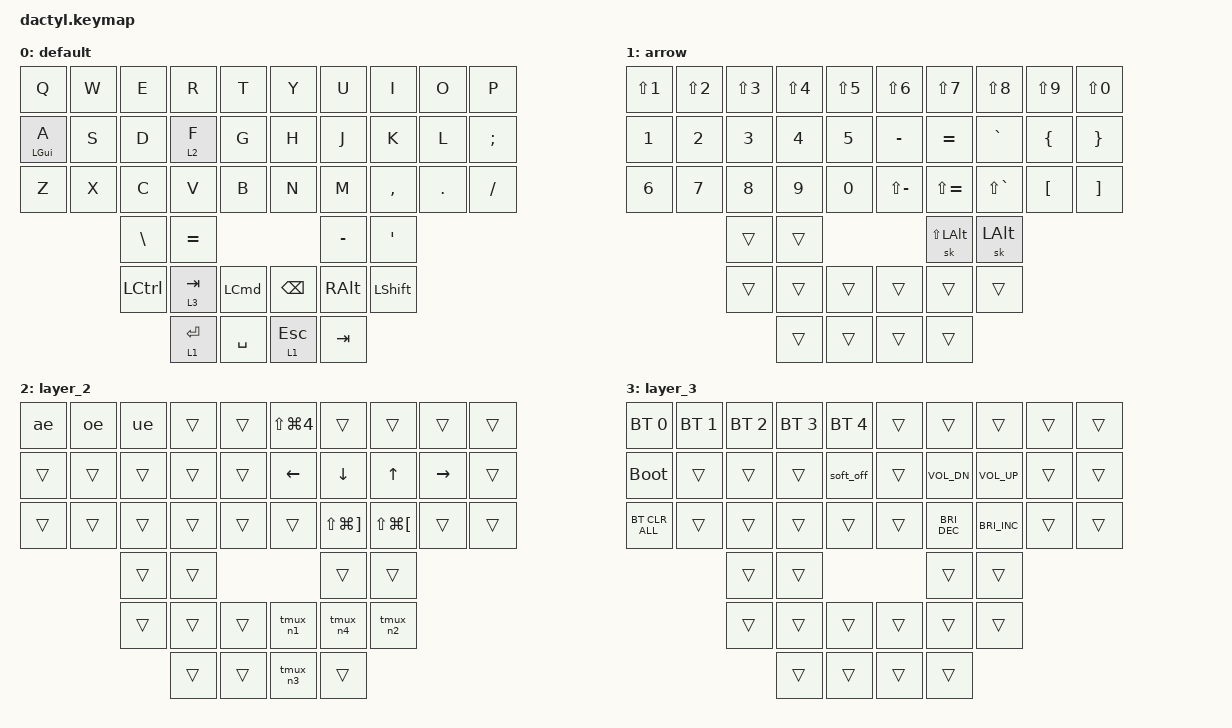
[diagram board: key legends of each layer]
#define ZMK_POINTING_DEFAULT_MOVE_VAL 1500  // default: 600
#define ZMK_POINTING_DEFAULT_SCRL_VAL 20    // default: 10

#include <dt-bindings/zmk/mouse.h>
#include <behaviors.dtsi>
#include <dt-bindings/zmk/bt.h>
#include <dt-bindings/zmk/keys.h>

#define DEFAULT 0
#define LOWER 1
#define RAISE 2
#define ADJUST 3

&mt {
    quick-tap-ms = <175>;
    require-prior-idle-ms = <150>;
    flavor = "balanced";
};

/ {
    macros {
        tmux_n1: tmux_n1 {
            compatible = "zmk,behavior-macro";
            #binding-cells = <0>;
            bindings = <&kp LC(A) &kp N1>;
        };

        tmux_n2: tmux_n2 {
            compatible = "zmk,behavior-macro";
            #binding-cells = <0>;
            bindings = <&kp LC(A) &kp N2>;
        };

        tmux_n3: tmux_n3 {
            compatible = "zmk,behavior-macro";
            #binding-cells = <0>;
            bindings = <&kp LC(A) &kp N3>;
        };

        tmux_n4: tmux_n4 {
            compatible = "zmk,behavior-macro";
            #binding-cells = <0>;
            bindings = <&kp LC(A) &kp N4>;
        };

        vim_write: vim_write {
            compatible = "zmk,behavior-macro";
            #binding-cells = <0>;
            bindings = <&kp ESC &kp COLON &kp W &kp ENTER>;
        };

        gg: gg {
            compatible = "zmk,behavior-macro";
            #binding-cells = <0>;
            bindings = <&kp G &kp G>;
        };

        move_line_up: move_line_up {
            compatible = "zmk,behavior-macro";
            #binding-cells = <0>;
            bindings = <&kp V &kp LS(U) &kp ESCAPE>;
            label = "MOVE_LINE_UP";
        };

        move_line_down: move_line_down {
            compatible = "zmk,behavior-macro";
            #binding-cells = <0>;
            bindings = <&kp V &kp LS(D) &kp ESCAPE>;
            label = "MOVE_LINE_DOWN";
        };

        vim_wqa: vim_wqa {
            compatible = "zmk,behavior-macro";
            #binding-cells = <0>;
            bindings = <&kp ESC &kp COLON &kp W &kp Q &kp A &kp ENTER>;
            label = "VIM_WQA";
        };

        tmux_zoom: tmux_zoom {
            compatible = "zmk,behavior-macro";
            #binding-cells = <0>;
            bindings = <&kp LC(A) &kp Z>;
            label = "TMUX_ZOOM";
        };

        ae: ae {
            compatible = "zmk,behavior-macro";
            #binding-cells = <0>;
            bindings = <&kp LA(U) &kp A>;
            label = "AE";
        };

        oe: oe {
            compatible = "zmk,behavior-macro";
            #binding-cells = <0>;
            bindings = <&kp LA(U) &kp O>;
            label = "OE";
        };

        ue: ue {
            compatible = "zmk,behavior-macro";
            #binding-cells = <0>;
            bindings = <&kp LA(U) &kp U>;
            label = "UE";
        };
    };

    keymap {
        compatible = "zmk,keymap";

        default {
            bindings = <
&kp Q           &kp W  &kp E             &kp R        &kp T             &kp Y          &kp U          &kp I             &kp O    &kp P
&mt LEFT_GUI A  &kp S  &kp D             &lt 2 F      &kp G             &kp H          &kp J          &kp K             &kp L    &kp SEMI
&kp Z           &kp X  &kp C             &kp V        &kp B             &kp N          &kp M          &kp COMMA         &kp DOT  &kp FSLH
                       &kp BACKSLASH     &kp EQUAL                                     &kp MINUS      &kp SINGLE_QUOTE
                       &kp LEFT_CONTROL  &lt 3 TAB    &kp LEFT_COMMAND  &kp BACKSPACE  &kp RIGHT_ALT  &kp LEFT_SHIFT
                                         &lt 1 ENTER  &kp SPACE         &lt 1 ESCAPE   &kp TAB
            >;
        };

        arrow {
            bindings = <
&kp LS(N1)    &kp LS(N2)  &kp LS(N3)  &kp LS(N4)  &kp LS(N5)  &kp LS(N6)     &kp LS(N7)        &kp LS(N8)     &kp LS(N9)      &kp LS(N0)
&kp NUMBER_1  &kp N2      &kp N3      &kp N4      &kp N5      &kp MINUS      &kp EQUAL         &kp GRAVE      &kp LEFT_BRACE  &kp RIGHT_BRACE
&kp N6        &kp N7      &kp N8      &kp N9      &kp N0      &kp LS(MINUS)  &kp LS(EQUAL)     &kp LS(GRAVE)  &kp LBKT        &kp RBKT
                          &trans      &trans                                 &sk LS(LEFT_ALT)  &sk LEFT_ALT
                          &trans      &trans      &trans      &trans         &trans            &trans
                                      &trans      &trans      &trans         &trans
            >;
        };

        layer_2 {
            bindings = <
&ae     &oe     &ue     &trans  &trans  &kp LS(LG(NUMBER_4))  &trans                     &trans                    &trans     &trans
&trans  &trans  &trans  &trans  &trans  &kp LEFT              &kp DOWN                   &kp UP_ARROW              &kp RIGHT  &trans
&trans  &trans  &trans  &trans  &trans  &trans                &kp LS(LG(RIGHT_BRACKET))  &kp LS(LG(LEFT_BRACKET))  &trans     &trans
                &trans  &trans                                &trans                     &trans
                &trans  &trans  &trans  &tmux_n1              &tmux_n4                   &tmux_n2
                        &trans  &trans  &tmux_n3              &trans
            >;
        };

        layer_3 {
            bindings = <
&bt BT_SEL 0    &bt BT_SEL 1  &bt BT_SEL 2  &bt BT_SEL 3  &bt BT_SEL 4  &trans  &trans                &trans                &trans  &trans
&bootloader     &trans        &trans        &trans        &soft_off     &trans  &kp C_VOL_DN          &kp C_VOLUME_UP       &trans  &trans
&bt BT_CLR_ALL  &trans        &trans        &trans        &trans        &trans  &kp C_BRIGHTNESS_DEC  &kp C_BRIGHTNESS_INC  &trans  &trans
                              &trans        &trans                              &trans                &trans
                              &trans        &trans        &trans        &trans  &trans                &trans
                                            &trans        &trans        &trans  &trans
            >;
        };
    };
};
